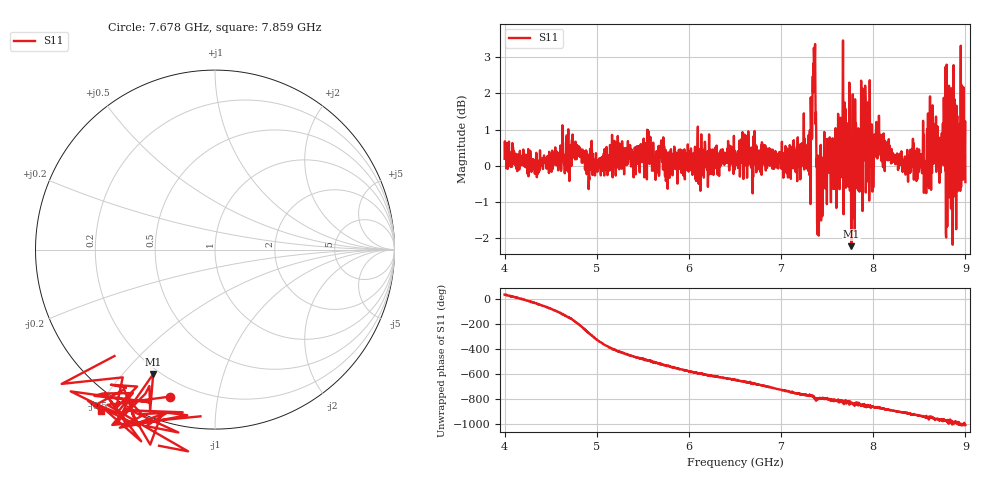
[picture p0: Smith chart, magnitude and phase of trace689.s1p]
! Created with skrf 1.8.0 (http://scikit-rf.org).
# Hz S RI R 50.0
!freq ReS11 ImS11
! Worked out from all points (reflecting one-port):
!   1601 points, 4 GHz to 9 GHz, reference 50 ohm
!   lowest |S11| = -2.2 dB at 7.762 GHz (marker M1), VSWR 7.86, Z = 8.75 - j30.3 ohm
!   phase of S11 starts at 32 deg and turns -1044 deg over the sweep
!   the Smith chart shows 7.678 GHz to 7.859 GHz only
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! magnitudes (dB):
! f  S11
! 4 GHz  0.2
! 4.625 GHz  0.6
! 5.25 GHz  0.5
! 5.875 GHz  -0.5
! 6.5 GHz  0.0
! 7.125 GHz  0.2
! 7.294 GHz  -0.1
! 7.316 GHz  0.2
! 7.347 GHz  2.0
! 7.366 GHz  3.0
! 7.397 GHz  -1.0
! 7.416 GHz  -0.6
! 7.509 GHz  -0.1
! 7.588 GHz  0.4
! 7.669 GHz  1.9
! 7.75 GHz  0.0
! 7.762 GHz  -2.2
! 7.891 GHz  0.3
! 8.375 GHz  -0.2
! 8.581 GHz  0.8
! 8.666 GHz  0.3
! 8.725 GHz  0.2
! 8.759 GHz  0.6
! 8.812 GHz  1.3
! 8.834 GHz  1.0
! 8.919 GHz  0.0
! 8.959 GHz  2.2
! 9 GHz  -0.4
